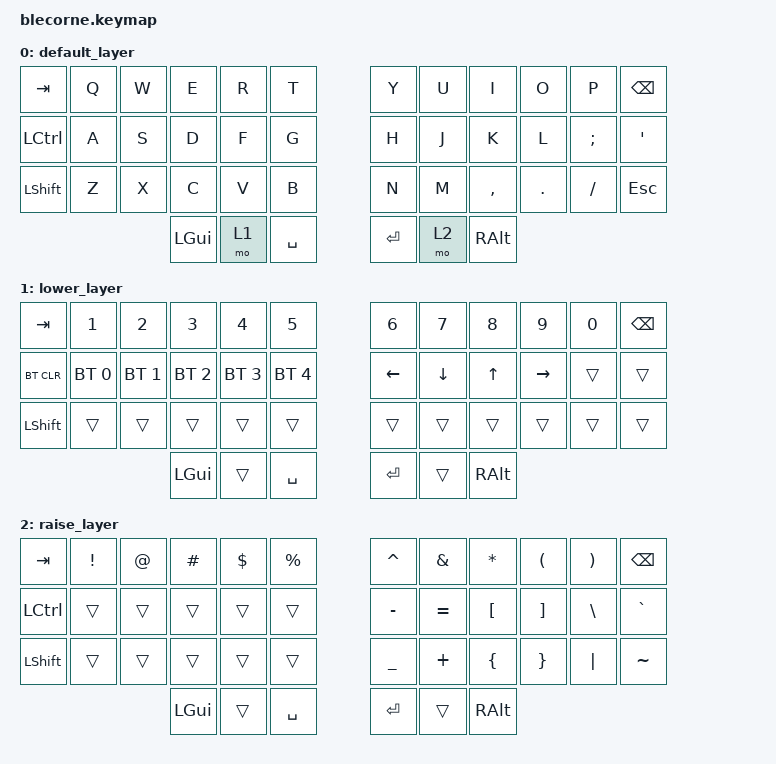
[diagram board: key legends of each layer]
/*
 * Copyright (c) 2020 The ZMK Contributors
 * SPDX-License-Identifier: MIT
 */

#include <behaviors.dtsi>
#include <dt-bindings/zmk/keys.h>
#include <dt-bindings/zmk/bt.h>

&mt {
    tapping-term-ms = <240>;
};

&lt {
    tapping-term-ms = <240>;
};

/ {
    behaviors {
        // Slower, roll-resistant mod-tap for the right hand
        mt_r: mod_tap_right {
            compatible = "zmk,behavior-hold-tap";
            display-name = "Mod-Tap (Right Hand)";
            #binding-cells = <2>;
            flavor = "balanced";
            tapping-term-ms = <280>;
            quick-tap-ms = <175>;
            require-prior-idle-ms = <150>;
            bindings = <&kp>, <&kp>;
        };
    };
};

/ {
    chosen {
        zmk,physical-layout = &foostan_corne_6col_layout;
        // zmk,physical-layout = &foostan_corne_5col_layout;
    };
};

/ {
    keymap {
        compatible = "zmk,keymap";

        default_layer {
            bindings = <
                &kp TAB   &kp Q &kp W &kp E &kp R &kp T   &kp Y &kp U  &kp I     &kp O   &kp P    &kp BSPC
                &kp LCTRL &kp A &kp S &kp D &kp F &kp G   &kp H &kp J  &kp K     &kp L   &kp SEMI &kp SQT
                &kp LSHFT &kp Z &kp X &kp C &kp V &kp B   &kp N &kp M  &kp COMMA &kp DOT &kp FSLH &kp ESC
                              &kp LGUI &mo 1 &kp SPACE   &kp RET &mo 2 &kp RALT
            >;
        };
        lower_layer {
            bindings = <
                &kp TAB    &kp N1       &kp N2       &kp N3       &kp N4       &kp N5         &kp N6   &kp N7   &kp N8 &kp N9    &kp N0 &kp BSPC
                &bt BT_CLR &bt BT_SEL 0 &bt BT_SEL 1 &bt BT_SEL 2 &bt BT_SEL 3 &bt BT_SEL 4   &kp LEFT &kp DOWN &kp UP &kp RIGHT &trans &trans
                &kp LSHFT  &trans       &trans       &trans       &trans       &trans         &trans   &trans   &trans &trans    &trans &trans
                                                &kp LGUI     &trans       &kp SPACE      &kp RET  &trans   &kp RALT
            >;
        };

        raise_layer {
            bindings = <
                &kp  TAB  &kp EXCL &kp AT &kp HASH &kp DLLR &kp PRCNT   &kp CARET &kp AMPS  &kp ASTRK &kp LPAR &kp RPAR &kp BSPC
                &kp LCTRL &trans   &trans &trans   &trans   &trans      &kp MINUS &kp EQUAL &kp LBKT  &kp RBKT &kp BSLH &kp GRAVE
                &kp LSHFT &trans   &trans &trans   &trans   &trans      &kp UNDER &kp PLUS  &kp LBRC  &kp RBRC &kp PIPE &kp TILDE
                                         &kp LGUI &trans   &kp SPACE   &kp RET   &trans    &kp RALT
            >;
        };
    };
};
